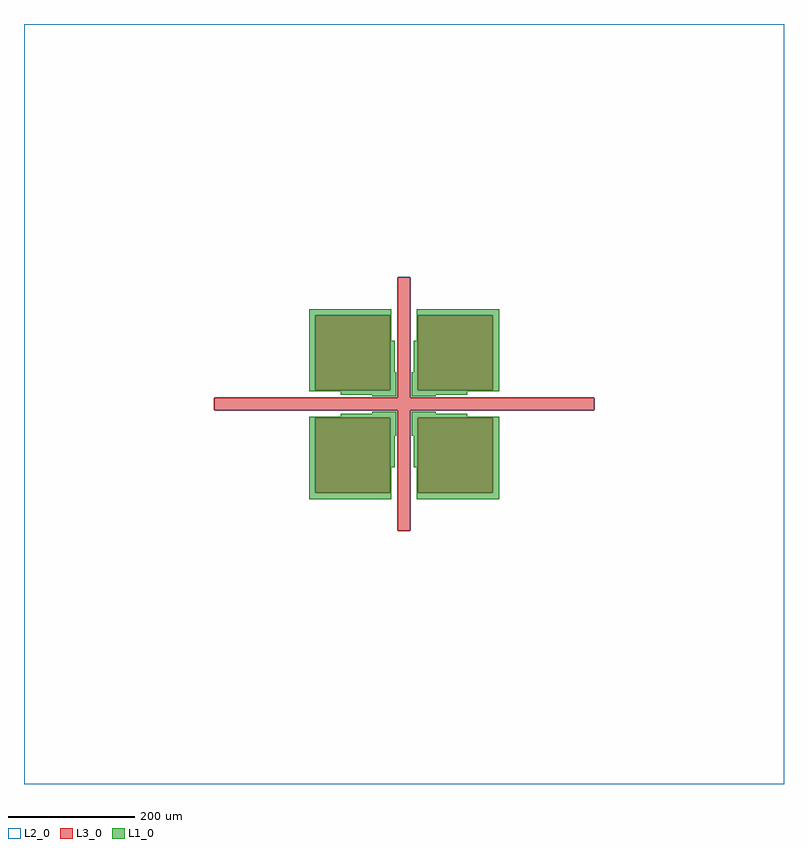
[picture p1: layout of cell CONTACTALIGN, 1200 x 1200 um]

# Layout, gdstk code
import gdstk
lib = gdstk.Library(unit=1e-6, precision=1e-09)
def R(c, l, rs):  # rectangles x0, y0, x1, y1
    for r in rs: c.add(gdstk.rectangle(r[:2], r[2:], *l))
def P(c, l, *ps):  # polygons
    for p in ps: c.add(gdstk.Polygon(p, *l))
L1_0 = (1, 0)
L2_0 = (2, 0)
L3_0 = (3, 0)

contactalign = lib.new_cell('CONTACTALIGN')
P(contactalign, L1_0, [(-12,-12),(-50,-12),(-50,-15),(-100,-15),(-100,-20),(-150,-20),(-150,-150),(-20,-150),(-20,-100),(-15,-100),(-15,-50),(-12,-50)],
  [(12,-12),(12,-50),(15,-50),(15,-100),(20,-100),(20,-150),(150,-150),(150,-20),(100,-20),(100,-15),(50,-15),(50,-12)],
  [(12,12),(12,50),(15,50),(15,100),(20,100),(20,150),(150,150),(150,20),(100,20),(100,15),(50,15),(50,12)],
  [(-12,12),(-50,12),(-50,15),(-100,15),(-100,20),(-150,20),(-150,150),(-20,150),(-20,100),(-15,100),(-15,50),(-12,50)])
P(contactalign, L2_0, [(-600,600),(-140,600),(-140,22),(-22,22),(-22,140),(-140,140),(-140,600),(-10,600),(-10,10),(-300,10),(-300,-10),(-140,-10),(-140,-140),(-22,-140),(-22,-22),(-140,-22),(-140,-10),(-10,-10),(-10,-200),(10,-200),(10,-10),(22,-10),(22,-140),(140,-140),(140,-22),(22,-22),(22,-10),(300,-10),(300,10),(10,10),(10,200),(-10,200),(-10,600),(22,600),(22,22),(140,22),(140,140),(22,140),(22,600),(600,600),(600,-600),(-600,-600)])
R(contactalign, L3_0, [(-140,-140,-22,-22), (22,-140,140,-22), (-140,22,-22,140), (22,22,140,140)])
P(contactalign, L3_0, [(-10,-200),(-10,-10),(-300,-10),(-300,10),(-10,10),(-10,200),(10,200),(10,10),(300,10),(300,-10),(10,-10),(10,-200)])

lib.write_gds('CONTACTALIGN.gds')
